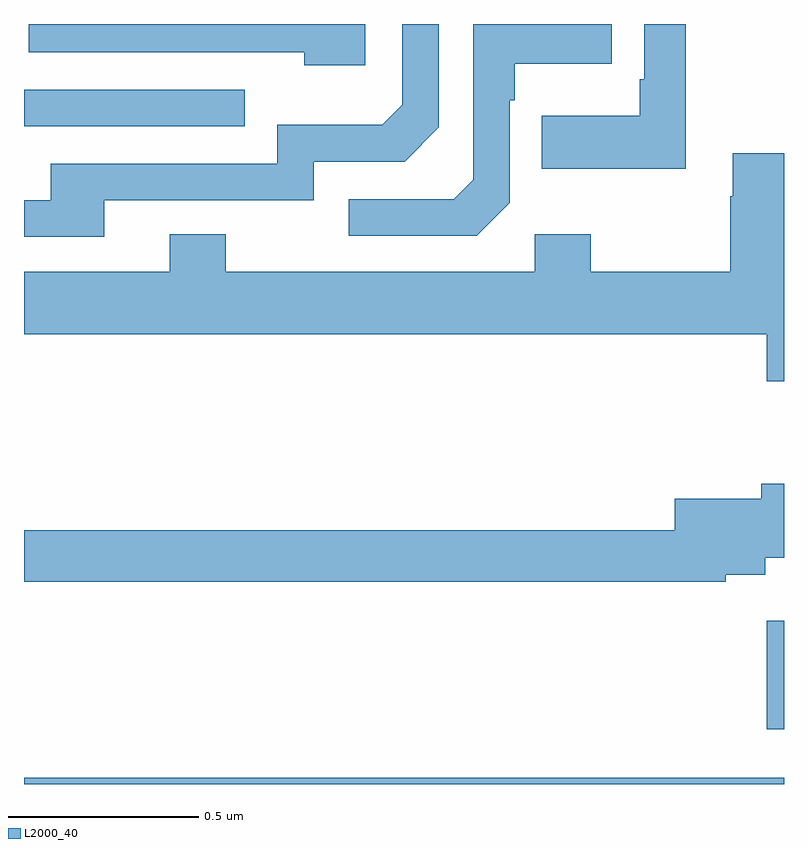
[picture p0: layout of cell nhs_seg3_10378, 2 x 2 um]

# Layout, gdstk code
import gdstk
lib = gdstk.Library(unit=1e-6, precision=1e-09)
def R(c, l, rs):  # rectangles x0, y0, x1, y1
    for r in rs: c.add(gdstk.rectangle(r[:2], r[2:], *l))
def P(c, l, *ps):  # polygons
    for p in ps: c.add(gdstk.Polygon(p, *l))
L2000_40 = (2000, 40)

nhs_seg3_10378 = lib.new_cell('nhs_seg3_10378')
R(nhs_seg3_10378, L2000_40, [(240,698.4,242,698.416), (241.955,698.544,242,698.83), (240,700.131,240.581,700.227)])
P(nhs_seg3_10378, L2000_40, [(240.211,699.936),(240.762,699.936),(240.762,700.038),(241.002,700.038),(241.092,700.128),(241.092,700.4),(240.996,700.4),(240.996,700.188),(240.943,700.135),(240.666,700.135),(240.666,700.032),(240.071,700.032),(240.071,699.936),(240,699.936),(240,699.84),(240.211,699.84)],
  [(240.898,700.4),(240.012,700.4),(240.012,700.326),(240.737,700.326),(240.737,700.292),(240.898,700.292)],
  [(241.278,699.93),(241.278,700.199),(241.291,700.199),(241.291,700.295),(241.547,700.295),(241.547,700.4),(241.182,700.4),(241.182,699.99),(241.131,699.939),(240.855,699.939),(240.855,699.843),(241.191,699.843)],
  [(241.741,700.4),(241.632,700.4),(241.632,700.255),(241.62,700.255),(241.62,700.159),(241.363,700.159),(241.363,700.019),(241.741,700.019)],
  [(242,700.06),(241.865,700.06),(241.865,699.947),(241.858,699.947),(241.858,699.748),(241.491,699.748),(241.491,699.847),(241.344,699.847),(241.344,699.748),(240.531,699.748),(240.531,699.847),(240.383,699.847),(240.383,699.748),(240,699.748),(240,699.584),(241.955,699.584),(241.955,699.46),(242,699.46)],
  [(241.847,698.951),(241.951,698.951),(241.951,698.996),(242,698.996),(242,699.19),(241.94,699.19),(241.94,699.151),(241.712,699.151),(241.712,699.068),(240,699.068),(240,698.932),(241.847,698.932)])

lib.write_gds('nhs_seg3_10378.gds')
